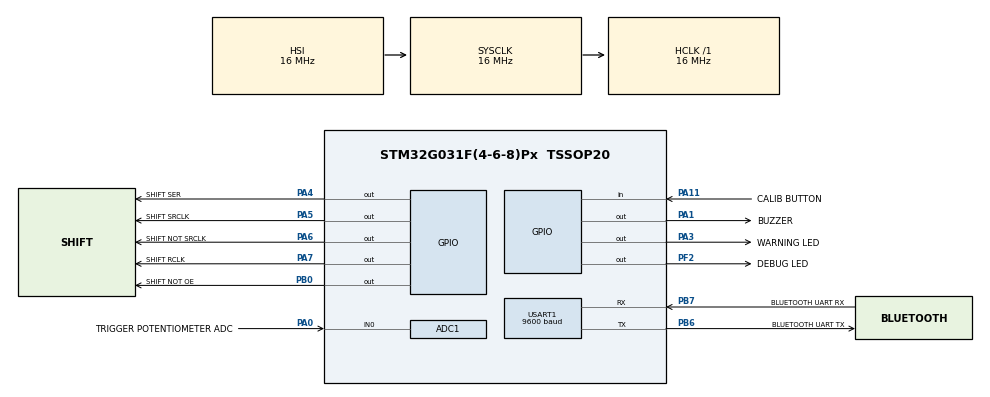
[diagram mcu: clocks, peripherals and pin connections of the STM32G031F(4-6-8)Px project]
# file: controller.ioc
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ADC1.Channel-0\#ChannelRegularConversion=ADC_CHANNEL_0
ADC1.ContinuousConvMode=DISABLE
ADC1.DiscontinuousConvMode=ENABLE
ADC1.NbrOfConversionFlag=1
ADC1.Rank-0\#ChannelRegularConversion=1
ADC1.Resolution=ADC_RESOLUTION_6B
ADC1.SamplingTime-0\#ChannelRegularConversion=ADC_SAMPLINGTIME_COMMON_1
ADC1.SelectedChannel=ADC_CHANNEL_0
ADC1.master=1
Dma.ADC1.0.Direction=DMA_PERIPH_TO_MEMORY
Dma.ADC1.0.EventEnable=DISABLE
Dma.ADC1.0.Instance=DMA1_Channel1
Dma.ADC1.0.MemDataAlignment=DMA_MDATAALIGN_HALFWORD
Dma.ADC1.0.MemInc=DMA_MINC_ENABLE
Dma.ADC1.0.Mode=DMA_CIRCULAR
Dma.ADC1.0.PeriphDataAlignment=DMA_PDATAALIGN_HALFWORD
Dma.ADC1.0.PeriphInc=DMA_PINC_DISABLE
Dma.ADC1.0.Polarity=HAL_DMAMUX_REQ_GEN_RISING
Dma.ADC1.0.Priority=DMA_PRIORITY_LOW
Dma.ADC1.0.RequestNumber=1
Dma.ADC1.0.SignalID=NONE
Dma.ADC1.0.SyncEnable=DISABLE
Dma.ADC1.0.SyncPolarity=HAL_DMAMUX_SYNC_NO_EVENT
Dma.ADC1.0.SyncRequestNumber=1
Dma.ADC1.0.SyncSignalID=NONE
Dma.Request0=ADC1
Dma.Request1=USART1_RX
Dma.USART1_RX.1.Direction=DMA_PERIPH_TO_MEMORY
Dma.USART1_RX.1.EventEnable=DISABLE
Dma.USART1_RX.1.Instance=DMA1_Channel2
Dma.USART1_RX.1.MemDataAlignment=DMA_MDATAALIGN_BYTE
Dma.USART1_RX.1.MemInc=DMA_MINC_ENABLE
Dma.USART1_RX.1.Mode=DMA_CIRCULAR
Dma.USART1_RX.1.PeriphDataAlignment=DMA_PDATAALIGN_BYTE
Dma.USART1_RX.1.PeriphInc=DMA_PINC_DISABLE
Dma.USART1_RX.1.Polarity=HAL_DMAMUX_REQ_GEN_RISING
Dma.USART1_RX.1.Priority=DMA_PRIORITY_LOW
Dma.USART1_RX.1.RequestNumber=1
Dma.USART1_RX.1.SignalID=NONE
Dma.USART1_RX.1.SyncEnable=DISABLE
Dma.USART1_RX.1.SyncPolarity=HAL_DMAMUX_SYNC_NO_EVENT
Dma.USART1_RX.1.SyncRequestNumber=1
Dma.USART1_RX.1.SyncSignalID=NONE
Mcu.Family=STM32G0
Mcu.Name=STM32G031F(4-6-8)Px
Mcu.Package=TSSOP20
Mcu.UserConstants=SLOW_PERIOD,2000
NVIC.DMA1_Channel1_IRQn=true\:0\:0\:false\:false\:true\:false\:true\:true
NVIC.DMA1_Channel2_3_IRQn=true\:0\:0\:false\:false\:true\:false\:true\:true
NVIC.TIM14_IRQn=true\:0\:0\:false\:false\:true\:true\:true\:true
PA0.GPIO_Label=TRIGGER POTENTIOMETER ADC
PA0.Mode=IN0
PA0.Signal=ADC1_IN0
PA1.GPIO_Label=BUZZER
PA1.Signal=GPIO_Output
PA11\ [PA9].GPIO_Label=CALIB BUTTON
PA11\ [PA9].GPIO_PuPd=GPIO_PULLDOWN
PA11\ [PA9].Signal=GPIO_Input
PA13.Mode=Serial_Wire
PA13.Signal=SYS_SWDIO
PA14-BOOT0.Mode=Serial_Wire
PA14-BOOT0.Signal=SYS_SWCLK
PA14-BOOT0__PA15.StandardMode=true
PA3.GPIO_Label=WARNING LED
PA3.Signal=GPIO_Output
PA4.GPIO_Label=SHIFT SER
PA4.Signal=GPIO_Output
PA5.GPIO_Label=SHIFT SRCLK
PA5.Signal=GPIO_Output
PA6.GPIO_Label=SHIFT NOT SRCLK
PA6.Signal=GPIO_Output
PA7.GPIO_Label=SHIFT RCLK
PA7.Signal=GPIO_Output
PB0.GPIO_Label=SHIFT NOT OE
PB0.Signal=GPIO_Output
PB0__PB1__PB2__PA8.StandardMode=true
PB3__PB4__PB5__PB6.StandardMode=true
PB6.GPIO_Label=BLUETOOTH UART TX
PB6.Mode=Asynchronous
PB6.Signal=USART1_TX
PB7.GPIO_Label=BLUETOOTH UART RX
PB7.Mode=Asynchronous
PB7.Signal=USART1_RX
PB7__PB8.StandardMode=true
PC14-OSC32_IN\ (PC14)__PB9.StandardMode=true
PF2\ -\ NRST.GPIO_Label=DEBUG LED
PF2\ -\ NRST.Signal=GPIO_Output
ProjectManager.HeapSize=0x200
ProjectManager.StackSize=0x400
ProjectManager.TargetToolchain=STM32CubeIDE
RCC.AHBFreq_Value=16000000
RCC.CortexFreq_Value=16000000
RCC.EXTERNAL_CLOCK_VALUE=12288000
RCC.HCLKFreq_Value=16000000
RCC.HSE_VALUE=8000000
RCC.HSI_VALUE=16000000
RCC.LSE_VALUE=32768
RCC.SYSCLKFreq_VALUE=16000000
RCC.VCOOutputFreq_Value=128000000
TIM14.Period=SLOW_PERIOD
TIM14.Prescaler=15
USART1.BaudRate=9600
USART1.VirtualMode-Asynchronous=VM_ASYNC
VP_TIM14_VS_ClockSourceINT.Mode=Enable_Timer
board=custom

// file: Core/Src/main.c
/* USER CODE BEGIN Header */
/**
  ******************************************************************************
  * @file           : main.c
  * @brief          : Main program body
  ******************************************************************************
  * @attention
  *
  * Copyright (c) 2022 STMicroelectronics.
  * All rights reserved.
  *
  * This software is licensed under terms that can be found in the LICENSE file
  * in the root directory of this software component.
  * If no LICENSE file comes with this software, it is provided AS-IS.
  *
  ******************************************************************************
  */
/* USER CODE END Header */
#include "main.h"

/* USER CODE BEGIN Includes */

#include "adc_sensor.h"
#include "controller_wireless.h"
#include "display.h"
#include "interrupt_timer.h"
#include "potentiometer.h"
#include "shift_register.h"
#include "battery_buzzer.h"
#include "trigger.h"
#include "warning_led.h"
#include <string.h>
#include <stdbool.h>

/* USER CODE END Includes */

ADC_HandleTypeDef hadc1;
DMA_HandleTypeDef hdma_adc1;

TIM_HandleTypeDef htim14;

UART_HandleTypeDef huart1;
DMA_HandleTypeDef hdma_usart1_rx;

/* USER CODE BEGIN PV */

ADCSensor *adc_sensor = NULL;
BatteryBuzzer *battery_buzzer = NULL;
Display *display = NULL;
Potentiometer *potentiometer = NULL;
ShiftRegister *shift_register = NULL;
Trigger *trigger = NULL;
Wireless *wireless = NULL;
PinData* shift_ser = NULL;
PinData* shift_srclk = NULL;
PinData* shift_not_srclk = NULL;
PinData* shift_rclk = NULL;
PinData* shift_not_oe = NULL;
PinData* buzzer = NULL;
PinData* debug_led = NULL;
PinData* warning_led_pin = NULL;
PinData* calib_button = NULL;
InterruptTimer* slow_interrupt_timer = NULL;
WarningLed* warning_led = NULL;
uint8_t battery_data;

/* USER CODE END PV */

void SystemClock_Config(void);
static void MX_GPIO_Init(void);
static void MX_DMA_Init(void);
static void MX_USART1_UART_Init(void);
static void MX_ADC1_Init(void);
static void MX_TIM14_Init(void);

/* USER CODE BEGIN 0 */

void HAL_UART_RxCpltCallback(UART_HandleTypeDef *huart) {
	receive_wireless(wireless);
}

void HAL_TIM_PeriodElapsedCallback(TIM_HandleTypeDef *htim) {
	if (htim == slow_interrupt_timer->timer) {
		// called every 2 ms
		update_battery_buzzer_logic(battery_buzzer);
		update_warning_led_logic(warning_led, is_wireless_comms_lost(wireless));
		refresh_wireless_status(wireless);
	}

}

/* USER CODE END 0 */

int main(void)
{
  /* USER CODE BEGIN 1 */
	shift_ser = new_pin_data(SHIFT_SER_GPIO_Port, SHIFT_SER_Pin, PIN_IS_OUTPUT);
	shift_srclk = new_pin_data(SHIFT_SRCLK_GPIO_Port, SHIFT_SRCLK_Pin, PIN_IS_OUTPUT);
	shift_not_srclk = new_pin_data(SHIFT_NOT_SRCLK_GPIO_Port, SHIFT_NOT_SRCLK_Pin, PIN_IS_OUTPUT);
	shift_rclk = new_pin_data(SHIFT_RCLK_GPIO_Port, SHIFT_RCLK_Pin, PIN_IS_OUTPUT);
	shift_not_oe = new_pin_data(SHIFT_NOT_OE_GPIO_Port, SHIFT_NOT_OE_Pin, PIN_IS_OUTPUT);
	buzzer = new_pin_data(BUZZER_GPIO_Port, BUZZER_Pin, PIN_IS_OUTPUT);
	warning_led_pin = new_pin_data(WARNING_LED_GPIO_Port, WARNING_LED_Pin, PIN_IS_OUTPUT);
	debug_led = new_pin_data(DEBUG_LED_GPIO_Port, DEBUG_LED_Pin, PIN_IS_OUTPUT);
	calib_button = new_pin_data(CALIB_BUTTON_GPIO_Port, CALIB_BUTTON_Pin, PIN_IS_INPUT);
	slow_interrupt_timer = new_interrupt_timer(&htim14);
	adc_sensor = new_adc_sensor(&hadc1, 1);
	potentiometer = new_potentiometer(adc_sensor, 0);
	shift_register = new_shift_register(
			shift_ser,
			shift_srclk,
			shift_not_srclk,
			shift_rclk,
			shift_not_oe);
	display = new_display(shift_register);
	trigger = new_trigger(potentiometer);
	battery_buzzer = new_battery_buzzer(buzzer, &battery_data);
	warning_led = new_warning_led(warning_led_pin, &battery_data);
	wireless = new_wireless(&huart1, display, battery_buzzer, warning_led);
	battery_data = 5;

  /* USER CODE END 1 */

  /* MCU Configuration--------------------------------------------------------*/

  /* Reset of all peripherals, Initializes the Flash interface and the Systick. */
  HAL_Init();

  /* Configure the system clock */
  SystemClock_Config();

  /* Initialize all configured peripherals */
  MX_GPIO_Init();
  MX_DMA_Init();
  MX_USART1_UART_Init();
  MX_ADC1_Init();
  MX_TIM14_Init();
  /* USER CODE BEGIN 2 */

  start_interrupt_timer(slow_interrupt_timer);
  update_display_number(display, 0);
  receive_wireless(wireless);

  /* USER CODE END 2 */

  /* Infinite loop */
  while (1)
  {

    /* USER CODE BEGIN 3 */
	  // Our while loop is so fast so we need to put in some delay
	  HAL_Delay(50);
	  update_adc_sensor_values(adc_sensor);
	  int raw_trigger_counts = (int)get_trigger_input(trigger);
	  send_wireless_trigger_input(wireless, raw_trigger_counts);
	  if (get_pin_value(calib_button)) {
		  send_wireless_calib(wireless);
	  }
  }
  /* USER CODE END 3 */
}

void SystemClock_Config(void)
{
  RCC_OscInitTypeDef RCC_OscInitStruct = {0};
  RCC_ClkInitTypeDef RCC_ClkInitStruct = {0};

  /** Configure the main internal regulator output voltage
  */
  HAL_PWREx_ControlVoltageScaling(PWR_REGULATOR_VOLTAGE_SCALE1);

  /** Initializes the RCC Oscillators according to the specified parameters
  * in the RCC_OscInitTypeDef structure.
  */
  RCC_OscInitStruct.OscillatorType = RCC_OSCILLATORTYPE_HSI;
  RCC_OscInitStruct.HSIState = RCC_HSI_ON;
  RCC_OscInitStruct.HSIDiv = RCC_HSI_DIV1;
  RCC_OscInitStruct.HSICalibrationValue = RCC_HSICALIBRATION_DEFAULT;
  RCC_OscInitStruct.PLL.PLLState = RCC_PLL_NONE;
  if (HAL_RCC_OscConfig(&RCC_OscInitStruct) != HAL_OK)
  {
    Error_Handler();
  }

  /** Initializes the CPU, AHB and APB buses clocks
  */
  RCC_ClkInitStruct.ClockType = RCC_CLOCKTYPE_HCLK|RCC_CLOCKTYPE_SYSCLK
                              |RCC_CLOCKTYPE_PCLK1;
  RCC_ClkInitStruct.SYSCLKSource = RCC_SYSCLKSOURCE_HSI;
  RCC_ClkInitStruct.AHBCLKDivider = RCC_SYSCLK_DIV1;
  RCC_ClkInitStruct.APB1CLKDivider = RCC_HCLK_DIV1;

  if (HAL_RCC_ClockConfig(&RCC_ClkInitStruct, FLASH_LATENCY_0) != HAL_OK)
  {
    Error_Handler();
  }
}

static void MX_ADC1_Init(void)
{

  ADC_ChannelConfTypeDef sConfig = {0};

  /** Configure the global features of the ADC (Clock, Resolution, Data Alignment and number of conversion)
  */
  hadc1.Instance = ADC1;
  hadc1.Init.ClockPrescaler = ADC_CLOCK_SYNC_PCLK_DIV2;
  hadc1.Init.Resolution = ADC_RESOLUTION_6B;
  hadc1.Init.DataAlign = ADC_DATAALIGN_RIGHT;
  hadc1.Init.ScanConvMode = ADC_SCAN_DISABLE;
  hadc1.Init.EOCSelection = ADC_EOC_SINGLE_CONV;
  hadc1.Init.LowPowerAutoWait = DISABLE;
  hadc1.Init.LowPowerAutoPowerOff = DISABLE;
  hadc1.Init.ContinuousConvMode = DISABLE;
  hadc1.Init.NbrOfConversion = 1;
  hadc1.Init.DiscontinuousConvMode = ENABLE;
  hadc1.Init.ExternalTrigConv = ADC_SOFTWARE_START;
  hadc1.Init.ExternalTrigConvEdge = ADC_EXTERNALTRIGCONVEDGE_NONE;
  hadc1.Init.DMAContinuousRequests = DISABLE;
  hadc1.Init.Overrun = ADC_OVR_DATA_PRESERVED;
  hadc1.Init.SamplingTimeCommon1 = ADC_SAMPLETIME_1CYCLE_5;
  hadc1.Init.SamplingTimeCommon2 = ADC_SAMPLETIME_1CYCLE_5;
  hadc1.Init.OversamplingMode = DISABLE;
  hadc1.Init.TriggerFrequencyMode = ADC_TRIGGER_FREQ_HIGH;
  if (HAL_ADC_Init(&hadc1) != HAL_OK)
  {
    Error_Handler();
  }

  /** Configure Regular Channel
  */
  sConfig.Channel = ADC_CHANNEL_0;
  sConfig.Rank = ADC_REGULAR_RANK_1;
  sConfig.SamplingTime = ADC_SAMPLINGTIME_COMMON_1;
  if (HAL_ADC_ConfigChannel(&hadc1, &sConfig) != HAL_OK)
  {
    Error_Handler();
  }

}

static void MX_TIM14_Init(void)
{

  htim14.Instance = TIM14;
  htim14.Init.Prescaler = 15;
  htim14.Init.CounterMode = TIM_COUNTERMODE_UP;
  htim14.Init.Period = SLOW_PERIOD;
  htim14.Init.ClockDivision = TIM_CLOCKDIVISION_DIV1;
  htim14.Init.AutoReloadPreload = TIM_AUTORELOAD_PRELOAD_DISABLE;
  if (HAL_TIM_Base_Init(&htim14) != HAL_OK)
  {
    Error_Handler();
  }

}

static void MX_USART1_UART_Init(void)
{

  huart1.Instance = USART1;
  huart1.Init.BaudRate = 9600;
  huart1.Init.WordLength = UART_WORDLENGTH_8B;
  huart1.Init.StopBits = UART_STOPBITS_1;
  huart1.Init.Parity = UART_PARITY_NONE;
  huart1.Init.Mode = UART_MODE_TX_RX;
  huart1.Init.HwFlowCtl = UART_HWCONTROL_NONE;
  huart1.Init.OverSampling = UART_OVERSAMPLING_16;
  huart1.Init.OneBitSampling = UART_ONE_BIT_SAMPLE_DISABLE;
  huart1.Init.ClockPrescaler = UART_PRESCALER_DIV1;
  huart1.AdvancedInit.AdvFeatureInit = UART_ADVFEATURE_NO_INIT;
  if (HAL_UART_Init(&huart1) != HAL_OK)
  {
    Error_Handler();
  }
  if (HAL_UARTEx_SetTxFifoThreshold(&huart1, UART_TXFIFO_THRESHOLD_1_8) != HAL_OK)
  {
    Error_Handler();
  }
  if (HAL_UARTEx_SetRxFifoThreshold(&huart1, UART_RXFIFO_THRESHOLD_1_8) != HAL_OK)
  {
    Error_Handler();
  }
  if (HAL_UARTEx_DisableFifoMode(&huart1) != HAL_OK)
  {
    Error_Handler();
  }

}

static void MX_DMA_Init(void)
{

  /* DMA controller clock enable */
  __HAL_RCC_DMA1_CLK_ENABLE();

  /* DMA interrupt init */
  /* DMA1_Channel1_IRQn interrupt configuration */
  HAL_NVIC_SetPriority(DMA1_Channel1_IRQn, 0, 0);
  HAL_NVIC_EnableIRQ(DMA1_Channel1_IRQn);
  /* DMA1_Channel2_3_IRQn interrupt configuration */
  HAL_NVIC_SetPriority(DMA1_Channel2_3_IRQn, 0, 0);
  HAL_NVIC_EnableIRQ(DMA1_Channel2_3_IRQn);

}

static void MX_GPIO_Init(void)
{
  GPIO_InitTypeDef GPIO_InitStruct = {0};

  /* GPIO Ports Clock Enable */
  __HAL_RCC_GPIOB_CLK_ENABLE();
  __HAL_RCC_GPIOF_CLK_ENABLE();
  __HAL_RCC_GPIOA_CLK_ENABLE();

  /*Configure GPIO pin Output Level */
  HAL_GPIO_WritePin(DEBUG_LED_GPIO_Port, DEBUG_LED_Pin, GPIO_PIN_RESET);

  /*Configure GPIO pin Output Level */
  HAL_GPIO_WritePin(GPIOA, BUZZER_Pin|WARNING_LED_Pin|SHIFT_SER_Pin|SHIFT_SRCLK_Pin
                          |SHIFT_NOT_SRCLK_Pin|SHIFT_RCLK_Pin, GPIO_PIN_RESET);

  /*Configure GPIO pin Output Level */
  HAL_GPIO_WritePin(SHIFT_NOT_OE_GPIO_Port, SHIFT_NOT_OE_Pin, GPIO_PIN_RESET);

  /*Configure GPIO pin : DEBUG_LED_Pin */
  GPIO_InitStruct.Pin = DEBUG_LED_Pin;
  GPIO_InitStruct.Mode = GPIO_MODE_OUTPUT_PP;
  GPIO_InitStruct.Pull = GPIO_NOPULL;
  GPIO_InitStruct.Speed = GPIO_SPEED_FREQ_LOW;
  HAL_GPIO_Init(DEBUG_LED_GPIO_Port, &GPIO_InitStruct);

  /*Configure GPIO pins : BUZZER_Pin WARNING_LED_Pin SHIFT_SER_Pin SHIFT_SRCLK_Pin
                           SHIFT_NOT_SRCLK_Pin SHIFT_RCLK_Pin */
  GPIO_InitStruct.Pin = BUZZER_Pin|WARNING_LED_Pin|SHIFT_SER_Pin|SHIFT_SRCLK_Pin
                          |SHIFT_NOT_SRCLK_Pin|SHIFT_RCLK_Pin;
  GPIO_InitStruct.Mode = GPIO_MODE_OUTPUT_PP;
  GPIO_InitStruct.Pull = GPIO_NOPULL;
  GPIO_InitStruct.Speed = GPIO_SPEED_FREQ_LOW;
  HAL_GPIO_Init(GPIOA, &GPIO_InitStruct);

  /*Configure GPIO pin : SHIFT_NOT_OE_Pin */
  GPIO_InitStruct.Pin = SHIFT_NOT_OE_Pin;
  GPIO_InitStruct.Mode = GPIO_MODE_OUTPUT_PP;
  GPIO_InitStruct.Pull = GPIO_NOPULL;
  GPIO_InitStruct.Speed = GPIO_SPEED_FREQ_LOW;
  HAL_GPIO_Init(SHIFT_NOT_OE_GPIO_Port, &GPIO_InitStruct);

  /*Configure GPIO pin : CALIB_BUTTON_Pin */
  GPIO_InitStruct.Pin = CALIB_BUTTON_Pin;
  GPIO_InitStruct.Mode = GPIO_MODE_INPUT;
  GPIO_InitStruct.Pull = GPIO_PULLDOWN;
  HAL_GPIO_Init(CALIB_BUTTON_GPIO_Port, &GPIO_InitStruct);

}

void Error_Handler(void)
{
  __disable_irq();
  while (1)
  {
  }
}
